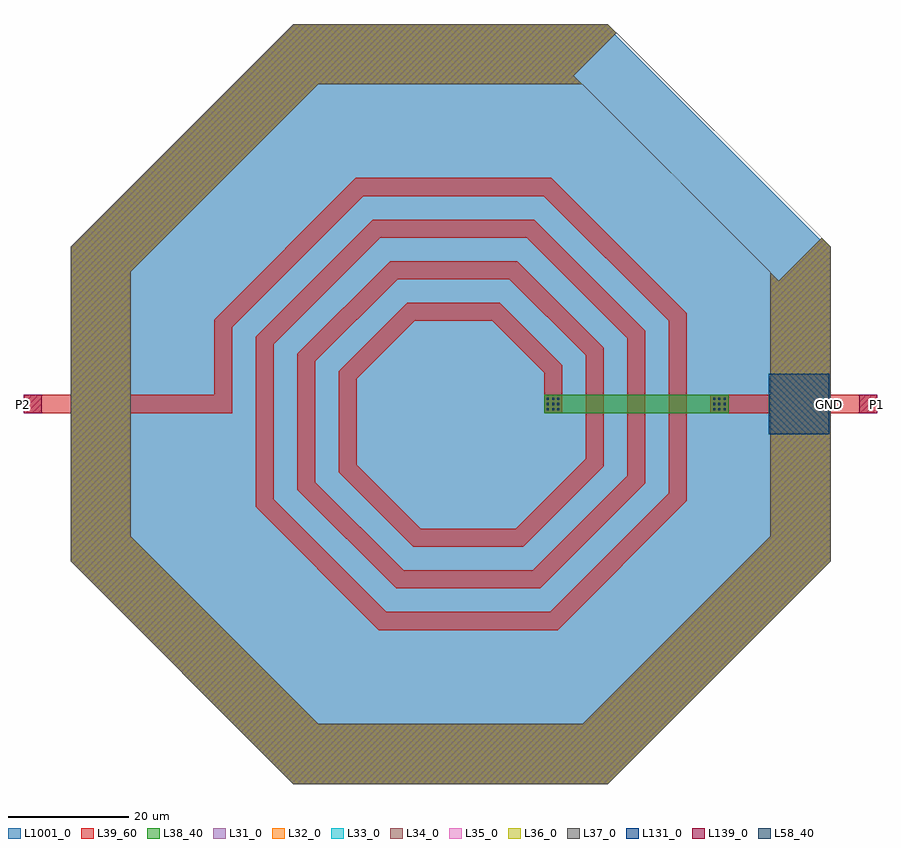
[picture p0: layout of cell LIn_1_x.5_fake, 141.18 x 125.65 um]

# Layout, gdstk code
import gdstk
lib = gdstk.Library(unit=1e-6, precision=1e-09)
def R(c, l, rs):  # rectangles x0, y0, x1, y1
    for r in rs: c.add(gdstk.rectangle(r[:2], r[2:], *l))
def A(c, l, x, y, w, h, nx, ny, dx, dy):  # array of equal rectangles
    R(c, l, [(x+i*dx, y+j*dy, x+i*dx+w, y+j*dy+h) for i in range(nx) for j in range(ny)])
def P(c, l, *ps):  # polygons
    for p in ps: c.add(gdstk.Polygon(p, *l))
L31_0 = (31, 0)
L32_0 = (32, 0)
L33_0 = (33, 0)
L34_0 = (34, 0)
L35_0 = (35, 0)
L36_0 = (36, 0)
L37_0 = (37, 0)
L38_40 = (38, 40)
L39_60 = (39, 60)
L58_40 = (58, 40)
L131_0 = (131, 0)
L139_0 = (139, 0)
L1001_0 = (1001, 0)

lin_1_x_5_fake = lib.new_cell('LIn_1_x.5_fake')
P(lin_1_x_5_fake, L31_0, [(54.288,20.416),(61.359,27.487),(26.022,62.824),(-26.022,62.824),(-62.824,26.022),(-62.824,-26.022),(-26.022,-62.824),(26.022,-62.824),(62.824,-26.022),(62.824,26.022),(27.487,61.359),(20.416,54.288),(52.824,21.88),(52.824,-21.88),(21.88,-52.824),(-21.88,-52.824),(-52.824,-21.88),(-52.824,21.88),(-21.88,52.824),(21.88,52.824)])
P(lin_1_x_5_fake, L32_0, [(54.288,20.416),(61.359,27.487),(26.022,62.824),(-26.022,62.824),(-62.824,26.022),(-62.824,-26.022),(-26.022,-62.824),(26.022,-62.824),(62.824,-26.022),(62.824,26.022),(27.487,61.359),(20.416,54.288),(52.824,21.88),(52.824,-21.88),(21.88,-52.824),(-21.88,-52.824),(-52.824,-21.88),(-52.824,21.88),(-21.88,52.824),(21.88,52.824)])
P(lin_1_x_5_fake, L33_0, [(54.288,20.416),(61.359,27.487),(26.022,62.824),(-26.022,62.824),(-62.824,26.022),(-62.824,-26.022),(-26.022,-62.824),(26.022,-62.824),(62.824,-26.022),(62.824,26.022),(27.487,61.359),(20.416,54.288),(52.824,21.88),(52.824,-21.88),(21.88,-52.824),(-21.88,-52.824),(-52.824,-21.88),(-52.824,21.88),(-21.88,52.824),(21.88,52.824)])
P(lin_1_x_5_fake, L34_0, [(54.288,20.416),(61.359,27.487),(26.022,62.824),(-26.022,62.824),(-62.824,26.022),(-62.824,-26.022),(-26.022,-62.824),(26.022,-62.824),(62.824,-26.022),(62.824,26.022),(27.487,61.359),(20.416,54.288),(52.824,21.88),(52.824,-21.88),(21.88,-52.824),(-21.88,-52.824),(-52.824,-21.88),(-52.824,21.88),(-21.88,52.824),(21.88,52.824)])
P(lin_1_x_5_fake, L35_0, [(54.288,20.416),(61.359,27.487),(26.022,62.824),(-26.022,62.824),(-62.824,26.022),(-62.824,-26.022),(-26.022,-62.824),(26.022,-62.824),(62.824,-26.022),(62.824,26.022),(27.487,61.359),(20.416,54.288),(52.824,21.88),(52.824,-21.88),(21.88,-52.824),(-21.88,-52.824),(-52.824,-21.88),(-52.824,21.88),(-21.88,52.824),(21.88,52.824)])
P(lin_1_x_5_fake, L36_0, [(54.288,20.416),(61.359,27.487),(26.022,62.824),(-26.022,62.824),(-62.824,26.022),(-62.824,-26.022),(-26.022,-62.824),(26.022,-62.824),(62.824,-26.022),(62.824,26.022),(27.487,61.359),(20.416,54.288),(52.824,21.88),(52.824,-21.88),(21.88,-52.824),(-21.88,-52.824),(-52.824,-21.88),(-52.824,21.88),(-21.88,52.824),(21.88,52.824)])
P(lin_1_x_5_fake, L37_0, [(54.288,20.416),(61.359,27.487),(26.022,62.824),(-26.022,62.824),(-62.824,26.022),(-62.824,-26.022),(-26.022,-62.824),(26.022,-62.824),(62.824,-26.022),(62.824,26.022),(27.487,61.359),(20.416,54.288),(52.824,21.88),(52.824,-21.88),(21.88,-52.824),(-21.88,-52.824),(-52.824,-21.88),(-52.824,21.88),(-21.88,52.824),(21.88,52.824)])
R(lin_1_x_5_fake, L38_40, [(15.465,-1.5,45.965,1.5)])
P(lin_1_x_5_fake, L38_40, [(54.288,20.416),(61.359,27.487),(26.022,62.824),(-26.022,62.824),(-62.824,26.022),(-62.824,-26.022),(-26.022,-62.824),(26.022,-62.824),(62.824,-26.022),(62.824,26.022),(27.487,61.359),(20.416,54.288),(52.824,21.88),(52.824,-21.88),(21.88,-52.824),(-21.88,-52.824),(-52.824,-21.88),(-52.824,21.88),(-21.88,52.824),(21.88,52.824)])
R(lin_1_x_5_fake, L39_60, [(-70.59,-1.5,-36.09,1.5), (42.965,-1.5,70.59,1.5)])
P(lin_1_x_5_fake, L39_60, [(15.465,-1.5),(18.465,-1.5),(18.465,6.431),(8.151,16.745),(-7.146,16.745),(-18.465,5.426),(-18.465,-11.291),(-6.136,-23.62),(12.006,-23.62),(25.34,-10.286),(25.34,9.281),(10.996,23.62),(-9.991,23.62),(-25.34,8.271),(-25.34,-14.141),(-8.986,-30.495),(14.851,-30.495),(32.215,-13.136),(32.215,12.126),(13.846,30.495),(-12.841,30.495),(-32.215,11.121),(-32.215,-16.991),(-11.831,-37.37),(17.701,-37.37),(39.09,-15.981),(39.09,14.976),(16.696,37.37),(-15.686,37.37),(-39.09,13.966),(-39.09,0),(-36.09,0),(-36.09,12.724),(-14.444,34.37),(15.454,34.37),(36.09,13.734),(36.09,-14.739),(16.459,-34.37),(-10.589,-34.37),(-29.215,-15.749),(-29.215,9.879),(-11.599,27.495),(12.604,27.495),(29.215,10.884),(29.215,-11.894),(13.609,-27.495),(-7.744,-27.495),(-22.34,-12.899),(-22.34,7.029),(-8.749,20.62),(9.754,20.62),(22.34,8.039),(22.34,-9.044),(10.764,-20.62),(-4.894,-20.62),(-15.465,-10.049),(-15.465,4.184),(-5.904,13.745),(6.909,13.745),(15.465,5.189)],
  [(54.288,20.416),(61.359,27.487),(26.022,62.824),(-26.022,62.824),(-62.824,26.022),(-62.824,-26.022),(-26.022,-62.824),(26.022,-62.824),(62.824,-26.022),(62.824,26.022),(27.487,61.359),(20.416,54.288),(52.824,21.88),(52.824,-21.88),(21.88,-52.824),(-21.88,-52.824),(-52.824,-21.88),(-52.824,21.88),(-21.88,52.824),(21.88,52.824)])
A(lin_1_x_5_fake, L58_40, 15.918, -1.045, 0.35, 0.35, 3, 3, 0.87, 0.87)
A(lin_1_x_5_fake, L58_40, 43.418, -1.045, 0.35, 0.35, 3, 3, 0.87, 0.87)
R(lin_1_x_5_fake, L131_0, [(52.59,-5,62.59,5)])
R(lin_1_x_5_fake, L139_0, [(-70.59,-1.5,-67.59,1.5), (67.59,-1.5,70.59,1.5)])
P(lin_1_x_5_fake, L1001_0, [(62.443,25.865),(25.865,62.443),(-25.865,62.443),(-62.443,25.865),(-62.443,-25.865),(-25.865,-62.443),(25.865,-62.443),(62.443,-25.865)],
  [(62.443,25.865),(25.865,62.443),(-25.865,62.443),(-62.443,25.865),(-62.443,-25.865),(-25.865,-62.443),(25.865,-62.443),(62.443,-25.865)],
  [(62.443,25.865),(25.865,62.443),(-25.865,62.443),(-62.443,25.865),(-62.443,-25.865),(-25.865,-62.443),(25.865,-62.443),(62.443,-25.865)],
  [(62.443,25.865),(25.865,62.443),(-25.865,62.443),(-62.443,25.865),(-62.443,-25.865),(-25.865,-62.443),(25.865,-62.443),(62.443,-25.865)],
  [(62.443,25.865),(25.865,62.443),(-25.865,62.443),(-62.443,25.865),(-62.443,-25.865),(-25.865,-62.443),(25.865,-62.443),(62.443,-25.865)],
  [(62.443,25.865),(25.865,62.443),(-25.865,62.443),(-62.443,25.865),(-62.443,-25.865),(-25.865,-62.443),(25.865,-62.443),(62.443,-25.865)],
  [(62.443,25.865),(25.865,62.443),(-25.865,62.443),(-62.443,25.865),(-62.443,-25.865),(-25.865,-62.443),(25.865,-62.443),(62.443,-25.865)],
  [(62.443,25.865),(25.865,62.443),(-25.865,62.443),(-62.443,25.865),(-62.443,-25.865),(-25.865,-62.443),(25.865,-62.443),(62.443,-25.865)],
  [(62.443,25.865),(25.865,62.443),(-25.865,62.443),(-62.443,25.865),(-62.443,-25.865),(-25.865,-62.443),(25.865,-62.443),(62.443,-25.865)])
lin_1_x_5_fake.add(gdstk.Label('P1', (70.588,0), layer=139, texttype=0))
lin_1_x_5_fake.add(gdstk.Label('P2', (-70.588,0), layer=139, texttype=0))
lin_1_x_5_fake.add(gdstk.Label('GND', (62.588,0), layer=131, texttype=0))

lib.write_gds('LIn_1_x.5_fake.gds')
